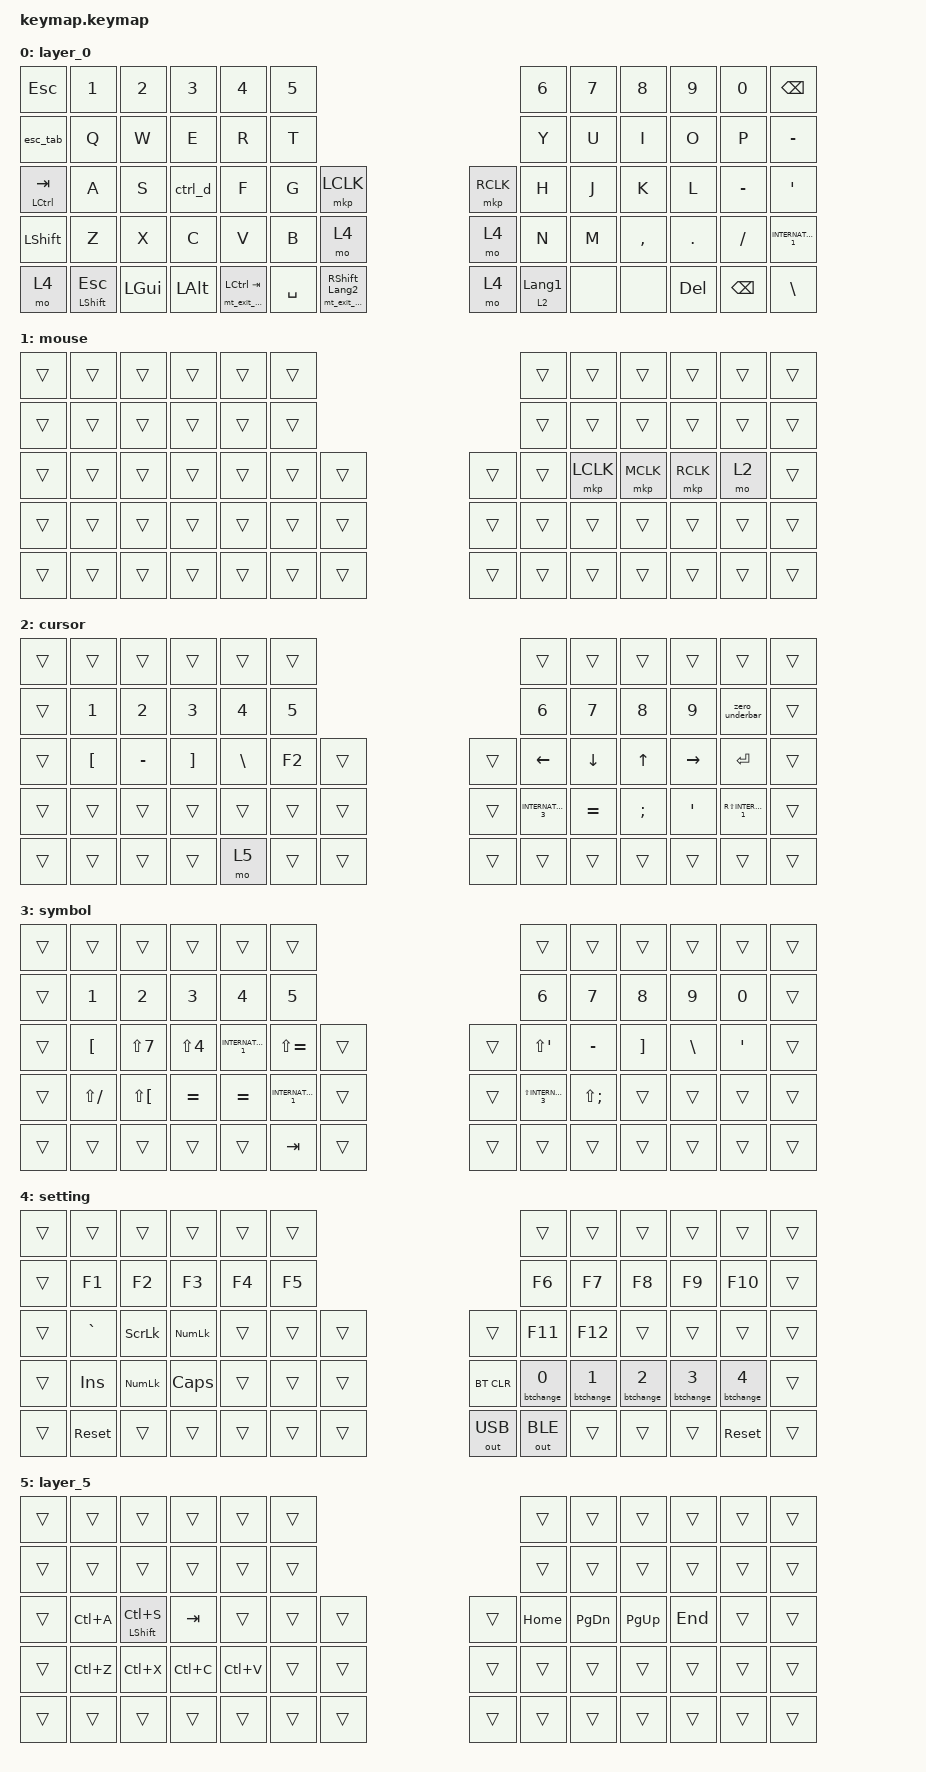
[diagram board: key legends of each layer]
#include <input/processors.dtsi>
#include <behaviors.dtsi>
#include <dt-bindings/zmk/bt.h>
#include <dt-bindings/zmk/keys.h>
#include <dt-bindings/zmk/outputs.h>
#include <dt-bindings/zmk/pointing.h>

#define MOUSE 1

&mkp_input_listener { input-processors = <&zip_temp_layer MOUSE 100000>; };

&mt { hold-while-undecided; };

&lt {
    hold-while-undecided;
    flavor = "hold-preferred";
};

/ {
    /omit-if-no-ref/

    zip_temp_layer: zip_temp_layer {
        compatible = "zmk,input-processor-temp-layer";
        #input-processor-cells = <2>;
        require-prior-idle-ms = <200>;
        excluded-positions = <54 55 56 58 33 34 35 36 >;
    };

    trackball_listener: trackball_listener {
        compatible = "zmk,input-listener";
        device = <&trackball>;
        input-processors =
            <&zip_temp_layer MOUSE 100000>,
            <&zip_xy_scaler 8 16>,
            <&zip_xy_transform (INPUT_TRANSFORM_X_INVERT | INPUT_TRANSFORM_Y_INVERT)>;

        scroller {
            layers = <2>;
            input-processors =
                <&zip_xy_transform (INPUT_TRANSFORM_X_INVERT)>,
                <&zip_xy_scaler 1 24>,
                <&zip_x_scaler 0 16>,
                <&zip_xy_to_scroll_mapper>;

            process-next;
        };
    };

    macros {
        exit_AML: exit_AML {
            compatible = "zmk,behavior-macro";
            wait-ms = <0>;
            tap-ms = <0>;
            #binding-cells = <0>;
            bindings = <&tog_off MOUSE>;
            label = "exit_AML";
        };

        kp_exit_AML: kp_exit_AML {
            compatible = "zmk,behavior-macro-one-param";
            wait-ms = <0>;
            tap-ms = <0>;
            #binding-cells = <1>;
            bindings = <&macro_param_1to1 &kp MACRO_PLACEHOLDER &exit_AML>;
            label = "KP_exit_AML";
        };

        btchange: btchange {
            compatible = "zmk,behavior-macro-one-param";
            #binding-cells = <1>;
            bindings = <&out OUT_BLE &macro_param_1to2 &bt BT_SEL MACRO_PLACEHOLDER>;
            label = "BTCHANGE";
        };
    };

    behaviors {

        ctrl_d: ctrl_d {
            compatible = "zmk,behavior-mod-morph";
            label = "CTRL_D";
            bindings = <&kp D>, <&kp TAB>;

            #binding-cells = <0>;
            mods = <(MOD_LCTL)>;
            keep-mods = <(MOD_LCTL)>;
        };

        zero_underbar: zero_underbar {
            compatible = "zmk,behavior-mod-morph";
            label = "ZERO_UNDERBAR";
            bindings = <&kp N0>, <&kp INT_RO>;

            #binding-cells = <0>;
            mods = <(MOD_LSFT)>;
            keep-mods = <(MOD_LSFT)>;
        };

        esc_tab: esc_tab {
            compatible = "zmk,behavior-mod-morph";
            label = "ESC_TAB";
            bindings = <&kp ESCAPE>, <&kp TAB>;

            #binding-cells = <0>;
            mods = <(MOD_LCTL)>;
            keep-mods = <(MOD_LCTL)>;
        };

   
    };

    combos {
        compatible = "zmk,combos";

        aaaaa {
            bindings = <&none>;
            key-positions = <58 33 34 35 36 54 53>;
        };
    };

    keymap {
        compatible = "zmk,keymap";

        layer_0 {
            bindings = <
&kp ESC               &kp N1                 &kp N2        &kp N3        &kp N4                                &kp N5                                                            &kp N6            &kp N7  &kp N8     &kp N9      &kp N0         &kp BSPC
&esc_tab              &kp Q                  &kp W         &kp E         &kp R                                 &kp T                                                             &kp Y             &kp U   &kp I      &kp O       &kp P          &kp MINUS
&mt LEFT_CONTROL TAB  &kp A                  &kp S         &ctrl_d       &kp F                                 &kp G      &mkp LCLK                                   &mkp RCLK  &kp H             &kp J   &kp K      &kp L       &kp MINUS      &kp SINGLE_QUOTE
&kp LSHFT             &kp Z                  &kp X         &kp C         &kp V                                 &kp B      &mo 4                                       &mo 4      &kp N             &kp M   &kp COMMA  &kp DOT     &kp SLASH      &kp INTERNATIONAL_1
&mo 4                 &mt LEFT_SHIFT ESCAPE  &kp LEFT_GUI  &kp LEFT_ALT  &mt_exit_AML_on_tap LEFT_CONTROL TAB  &kp SPACE  &mt_exit_AML_on_tap RIGHT_SHIFT LANGUAGE_2  &mo 4      &lt 2 LANGUAGE_1  &none   &none      &kp DELETE  &kp BACKSPACE  &kp BACKSLASH
            >;
        };

        mouse {
            bindings = <
&trans  &trans  &trans  &trans  &trans  &trans                  &trans  &trans     &trans     &trans     &trans  &trans
&trans  &trans  &trans  &trans  &trans  &trans                  &trans  &trans     &trans     &trans     &trans  &trans
&trans  &trans  &trans  &trans  &trans  &trans  &trans  &trans  &trans  &mkp LCLK  &mkp MCLK  &mkp RCLK  &mo 2   &trans
&trans  &trans  &trans  &trans  &trans  &trans  &trans  &trans  &trans  &trans     &trans     &trans     &trans  &trans
&trans  &trans  &trans  &trans  &trans  &trans  &trans  &trans  &trans  &trans     &trans     &trans     &trans  &trans
            >;
        };

        cursor {
            bindings = <
&trans  &trans            &trans        &trans             &trans         &trans                  &trans               &trans     &trans         &trans            &trans                   &trans
&trans  &kp NUMBER_1      &kp NUMBER_2  &kp NUMBER_3       &kp NUMBER_4   &kp N5                  &kp NUMBER_6         &kp N7     &kp N8         &kp N9            &zero_underbar           &trans
&trans  &kp LEFT_BRACKET  &kp MINUS     &kp RIGHT_BRACKET  &kp BACKSLASH  &kp F2  &trans  &trans  &kp LEFT             &kp DOWN   &kp UP_ARROW   &kp RIGHT         &kp ENTER                &trans
&trans  &trans            &trans        &trans             &trans         &trans  &trans  &trans  &kp INTERNATIONAL_3  &kp EQUAL  &kp SEMICOLON  &kp SINGLE_QUOTE  &kp RS(INTERNATIONAL_1)  &trans
&trans  &trans            &trans        &trans             &mo 5          &trans  &trans  &trans  &trans               &trans     &trans         &trans            &trans                   &trans
            >;
        };

        symbol {
            bindings = <
&trans  &trans            &trans                &trans            &trans               &trans                               &trans                   &trans        &trans             &trans         &trans            &trans
&trans  &kp NUMBER_1      &kp NUMBER_2          &kp NUMBER_3      &kp N4               &kp NUMBER_5                         &kp N6                   &kp N7        &kp N8             &kp N9         &kp N0            &trans
&trans  &kp LEFT_BRACKET  &kp LS(N7)            &kp LS(NUMBER_4)  &kp INTERNATIONAL_1  &kp LS(EQUAL)        &trans  &trans  &kp LS(SINGLE_QUOTE)     &kp MINUS     &kp RIGHT_BRACKET  &kp BACKSLASH  &kp SINGLE_QUOTE  &trans
&trans  &kp LS(SLASH)     &kp LS(LEFT_BRACKET)  &kp EQUAL         &kp EQUAL            &kp INTERNATIONAL_1  &trans  &trans  &kp LS(INTERNATIONAL_3)  &kp LS(SEMI)  &trans             &trans         &trans            &trans
&trans  &trans            &trans                &trans            &trans               &kp TAB              &trans  &trans  &trans                   &trans        &trans             &trans         &trans            &trans
            >;
        };

        setting {
            bindings = <
&trans  &trans      &trans          &trans          &trans  &trans                        &trans        &trans       &trans       &trans       &trans       &trans
&trans  &kp F1      &kp F2          &kp F3          &kp F4  &kp F5                        &kp F6        &kp F7       &kp F8       &kp F9       &kp F10      &trans
&trans  &kp GRAVE   &kp SCROLLLOCK  &kp KP_NUMLOCK  &trans  &trans  &trans  &trans        &kp F11       &kp F12      &trans       &trans       &trans       &trans
&trans  &kp INS     &kp KP_NUMLOCK  &kp CAPSLOCK    &trans  &trans  &trans  &bt BT_CLR    &btchange 0   &btchange 1  &btchange 2  &btchange 3  &btchange 4  &trans
&trans  &sys_reset  &trans          &trans          &trans  &trans  &trans  &out OUT_USB  &out OUT_BLE  &trans       &trans       &trans       &sys_reset   &trans
            >;
        };

        layer_5 {
            bindings = <
&trans  &trans     &trans                &trans     &trans     &trans                  &trans    &trans         &trans     &trans   &trans  &trans
&trans  &trans     &trans                &trans     &trans     &trans                  &trans    &trans         &trans     &trans   &trans  &trans
&trans  &kp LC(A)  &mt LEFT_SHIFT LC(S)  &kp TAB    &trans     &trans  &trans  &trans  &kp HOME  &kp PAGE_DOWN  &kp PG_UP  &kp END  &trans  &trans
&trans  &kp LC(Z)  &kp LC(X)             &kp LC(C)  &kp LC(V)  &trans  &trans  &trans  &trans    &trans         &trans     &trans   &trans  &trans
&trans  &trans     &trans                &trans     &trans     &trans  &trans  &trans  &trans    &trans         &trans     &trans   &trans  &trans
            >;
        };
    };
};
